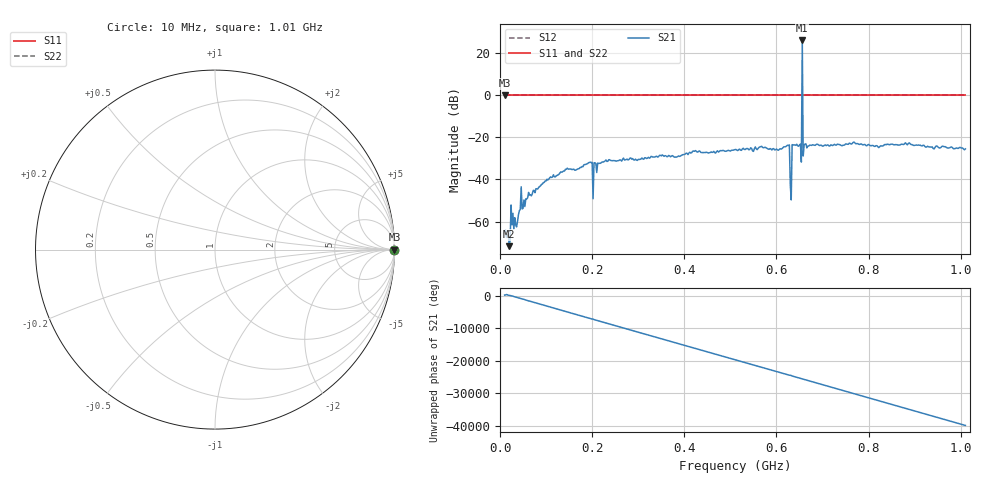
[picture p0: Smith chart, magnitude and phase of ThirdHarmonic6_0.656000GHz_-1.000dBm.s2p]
! 8/15/2025 9:47:35 PM
! C:\ANRITSUVNA\TEMP\TEMP.S2P
! CHANNEL.1
! TR.MEASUREMENT
! RAW.DATA
! RF.CORRECTION.OFF
! AVERAGING.OFF
! IF.BANDWIDTH: 5KHZ
! SWEEPTYPE:  FREQ.SWEEP(Linear)
! Reference Plane Port Info
! PORT:  PORT1  PORT2
! DISTANCE:  0  m  0  m
! TIME:  0  s  0  s
! PHASE.OFFSET:  0  deg.  0  deg.
! LOSS:  0  dB  0  dB
! REF.LOSS:  0  dB  0  dB
! REF.FREQ:  0  Hz  0  Hz
! Power Info
! POWER:  -20  dBm  -20  dBm
! EFF.POWER:  -20  dBm  -20  dBm
! SOURCE.ATTEN:  0  dB  0  dB
! TEST.ATTEN:  0  dB  0  dB
# GHZ S RI R 50.0
! FREQ.GHZ  S11RE  S11IM  S21RE  S21IM  S12RE  S12IM  S22RE  S22IM
!; PortSelection: Port_12
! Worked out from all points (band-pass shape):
!   501 points, 10 MHz to 1.01 GHz, reference 50 ohm
!   highest |S21| = 25.97 dB at 656 MHz (marker M1); lowest = -71.6 dB at 20 MHz (marker M2)
!   |S21| within 3 dB of the highest: 655.896 MHz to 656.1094 MHz (213.4 kHz wide, 0.0325 % of centre)
!   lowest |S11| = 0.0 dB at 10 MHz (marker M3)
!   |S11| at or under -10 dB: nowhere
!   |S22| runs from 0.0 to 0.0 dB; largest |S21 - S12| = 19
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0.01  1 0  -0.0005 0.000159  1 0  1 0
0.02  1 0  -4.18e-05 0.000258  1 0  1 0
0.028  1 0  -0.00123 -0.000991  1 0  1 0
0.06  1 0  0.00114 -0.00349  1 0  1 0
0.178  1 0  -0.0202 -0.00165  1 0  1 0
0.196  1 0  -0.0252 0.00505  1 0  1 0
0.206  1 0  -0.013 0.0211  1 0  1 0
0.226  1 0  0.0206 0.0168  1 0  1 0
0.344  1 0  0.029 -0.0192  1 0  1 0
0.51  1 0  -0.026 0.0441  1 0  1 0
0.624  1 0  -0.055 -0.0346  1 0  1 0
0.628  1 0  0.0454 0.0479  1 0  1 0
0.634  1 0  -0.0636 0.0215  1 0  1 0
0.638  1 0  0.0662 0.000249  1 0  1 0
0.65  1 0  -0.0393 -0.0535  1 0  1 0
0.652  1 0  -0.0621 0.0298  1 0  1 0
0.656  1 0  17.02 10.27  1 0  1 0
0.66  1 0  -0.0643 -0.0126  1 0  1 0
0.662  1 0  -0.0217 0.066  1 0  1 0
0.678  1 0  -0.0666 -0.00182  1 0  1 0
0.844  1 0  0.051 -0.0441  1 0  1 0
1.01  1 0  -0.00307 0.053  1 0  1 0
